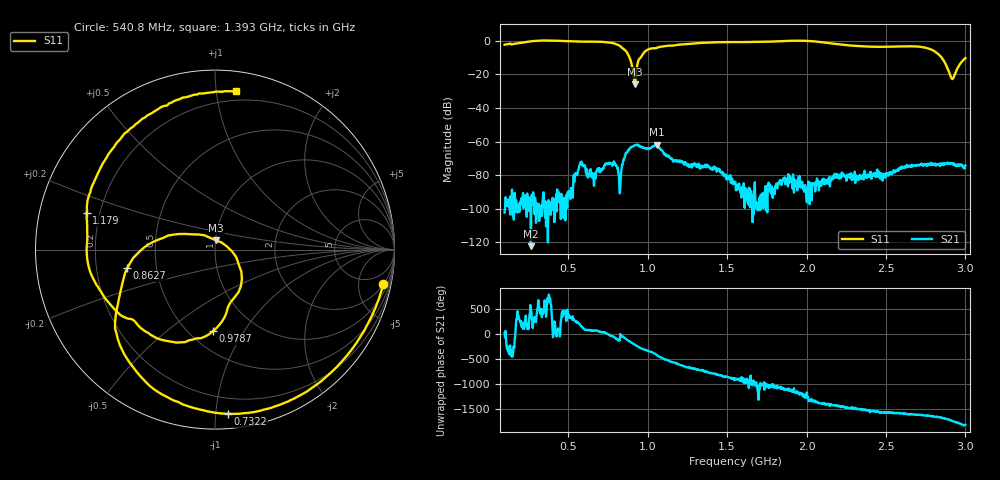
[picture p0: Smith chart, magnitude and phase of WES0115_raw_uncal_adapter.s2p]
! NanoVNA V2 raw (uncalibrated) {"variant": 2, "protocol": 1, "hw_rev": 4, "fw": "1.2"} fw 1.2 2026-11-03 12:38 avg=4 repeat=3 WES0115 on port1 via straight M-M SMA adapter, NO calibration
# Hz S RI R 50
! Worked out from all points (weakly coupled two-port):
!   1001 points, 100 MHz to 3 GHz, reference 50 ohm
!   highest |S21| = -61.72 dB at 1.06 GHz (marker M1); lowest = -122.2 dB at 265.3 MHz (marker M2)
!   lowest |S11| = -25.8 dB at 917.8 MHz (marker M3), VSWR 1.11, Z = 50.4 + j5.12 ohm
!   |S11| at or under -10 dB: 886.3 MHz to 955.3 MHz (69.04 MHz wide, 7.5 % of centre); 2.85 GHz to end of sweep
!   S12 and S22 are empty: the file has one direction only
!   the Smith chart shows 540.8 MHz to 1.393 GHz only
!   S11 on the Smith chart (normalised r, x): 540.8 MHz: 2.06, -9.47; 732.2 MHz: 0.09, -1.08; 862.7 MHz: 0.34, -0.09; 978.7 MHz: 0.65, -0.74; 1.179 GHz: 0.15, +0.14; 1.393 GHz: 0.13, +1.13
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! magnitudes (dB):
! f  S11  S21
! 100 MHz  -2.3  -102.2
! 265.3 MHz  -0.3  -122.2
! 540.8 MHz  -0.4  -81.6
! 584.3 MHz  -0.5  -71.9
! 659.7 MHz  -0.5  -80.5
! 732.2 MHz  -0.7  -73.3
! 787.3 MHz  -1.5  -71.7
! 825 MHz  -3.0  -90.8
! 862.7 MHz  -6.0  -66.7
! 917.8 MHz  -25.8  -62.2
! 978.7 MHz  -6.9  -63.7
! 1.06 GHz  -4.1  -61.7
! 1.069 GHz  -3.8  -62.6
! 1.179 GHz  -2.6  -71.4
! 1.393 GHz  -1.0  -76.2
! 1.55 GHz  -0.8  -84.3
! 2.034 GHz  -0.3  -86.1
! 2.519 GHz  -3.5  -79.8
! 2.791 GHz  -5.5  -73.6
! 2.852 GHz  -10.2  -73.5
! 2.916 GHz  -22.7  -72.9
! 3 GHz  -10.3  -74.2
